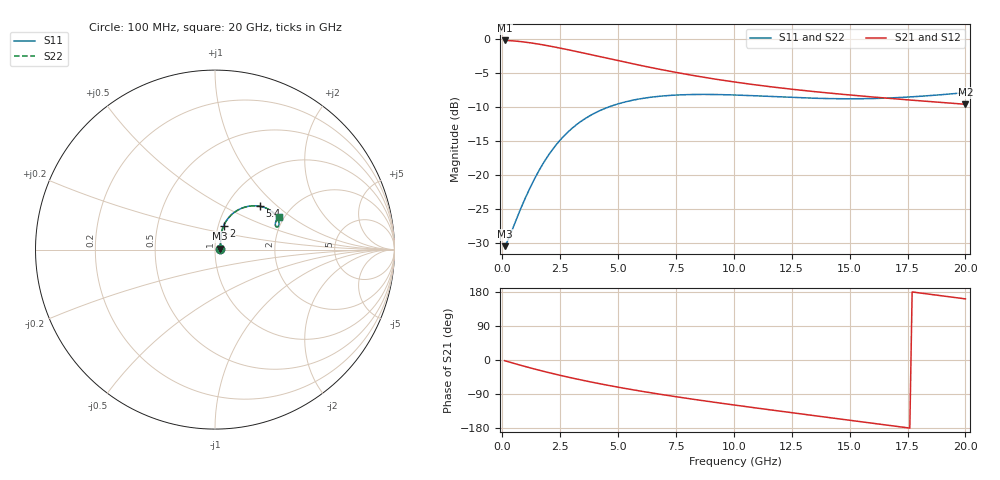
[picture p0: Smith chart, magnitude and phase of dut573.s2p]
! Touchstone file exported from HFSS 2024.1.0
!  File:  C:/UserFiles/LocalFiles/RDL_TSV_Batchsim/temp_RDL_TSV_573_1779755098.aedt
!  Generated:  08:42:58 AM May 26, 2026
!  Design:  RDL_TSV
!  Project:  temp_RDL_TSV_573_1779755098
!  Setup:  Setup1
!  Solution:  Sweep
! Variables:
!  dtsv = 10.48um
!  hbump = 3um
!  htsv = 64.72um
!  ldown = 235.92um
!  lrdl = 522.95um
!  p = 40
!  p1 = 53.99um
!  rhole = 10um
!  subl = 2799.56um
!  t = 450um
!  tdown = 2.78um
!  trdl = 2.15um
!  viad = 10um
!  wdown = 13.23um
!  wrdl = 14.78um
!  xbump = 18um
# GHz S MA R 50.000000
! Terminal data exported
! Port[1] = TM1_1_T1
! Port[2] = TM1_4_T1
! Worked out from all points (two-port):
!   200 points, 100 MHz to 20 GHz, reference 50 ohm
!   highest |S21| = -0.26 dB at 100 MHz (marker M1); lowest = -9.6 dB at 20 GHz (marker M2)
!   |S21| within 3 dB of the highest: start of sweep to 5.061 GHz
!   lowest |S11| = -30.4 dB at 100 MHz (marker M3), VSWR 1.06, Z = 53 + j0.647 ohm
!   |S11| at or under -10 dB: start of sweep to 4.605 GHz
!   |S22| runs from -30.4 to -7.9 dB; largest |S21 - S12| = 9e-15
!   S11 on the Smith chart (normalised r, x): 100 MHz: 1.06, +0.01; 2 GHz: 1.06, +0.29; 5.4 GHz: 1.41, +0.78; 20 GHz: 1.89, +0.82
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0.1  0.03018 11.7  0.9701 -1.8  0.9701 -1.8  0.03018 11.7
! Gamma 0 0 0 0
! Port Impedance 50 0 50 0
0.3  0.03508 31.0  0.9673 -5.4  0.9673 -5.4  0.03508 31.0
0.6  0.04722 49.1  0.9591 -10.6  0.9591 -10.6  0.04723 49.1
1.2  0.0808 66.0  0.9329 -20.7  0.9329 -20.7  0.0808 65.9
1.6  0.1092 69.8  0.9104 -27.1  0.9104 -27.1  0.1092 69.7
2  0.1405 70.2  0.8855 -33.2  0.8855 -33.2  0.1405 70.1
2.3  0.1647 69.1  0.8659 -37.6  0.8659 -37.6  0.1647 69.0
2.7  0.1965 66.6  0.8391 -43.3  0.8391 -43.3  0.1965 66.5
3.5  0.2545 59.9  0.7851 -53.9  0.7851 -53.9  0.2544 59.9
4.4  0.3065 52.1  0.7268 -64.9  0.7268 -64.9  0.3063 52.0
5.4  0.347 44.1  0.6674 -76.1  0.6674 -76.1  0.3468 44.1
6.1  0.366 39.2  0.6301 -83.4  0.6301 -83.4  0.3657 39.2
6.8  0.3786 35.0  0.5963 -90.3  0.5963 -90.3  0.3784 35.0
7.6  0.3869 30.9  0.562 -97.8  0.562 -97.8  0.3866 30.9
8.4  0.3901 27.5  0.5318 -105.0  0.5318 -105.0  0.3899 27.5
10.1  0.3863 22.5  0.4795 -119.5  0.4795 -119.5  0.386 22.5
11.7  0.3764 20.3  0.4419 -132.6  0.4419 -132.6  0.3761 20.2
13.4  0.3665 20.1  0.4106 -146.2  0.4106 -146.2  0.3662 20.0
15  0.3626 21.5  0.3867 -159.0  0.3867 -159.0  0.3623 21.4
16.7  0.3675 23.7  0.3654 -172.5  0.3654 -172.5  0.3671 23.6
18.3  0.3809 25.6  0.3477 174.8  0.3477 174.8  0.3805 25.5
20  0.4021 26.7  0.3307 161.3  0.3307 161.3  0.4015 26.6
